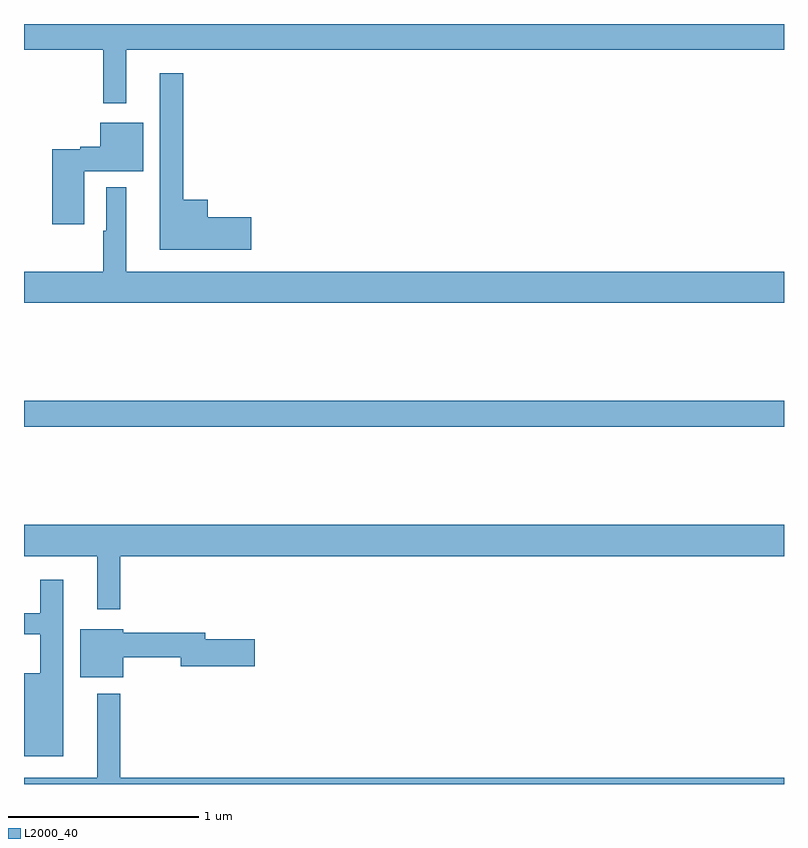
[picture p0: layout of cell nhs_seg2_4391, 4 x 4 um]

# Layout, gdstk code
import gdstk
lib = gdstk.Library(unit=1e-6, precision=1e-09)
def R(c, l, rs):  # rectangles x0, y0, x1, y1
    for r in rs: c.add(gdstk.rectangle(r[:2], r[2:], *l))
def P(c, l, *ps):  # polygons
    for p in ps: c.add(gdstk.Polygon(p, *l))
L2000_40 = (2000, 40)

nhs_seg2_4391 = lib.new_cell('nhs_seg2_4391')
R(nhs_seg2_4391, L2000_40, [(349,617.68,353,617.816)])
P(nhs_seg2_4391, L2000_40, [(349.537,619.664),(353,619.664),(353,619.8),(349,619.8),(349,619.664),(349.416,619.664),(349.416,619.383),(349.537,619.383)],
  [(350.197,618.782),(349.966,618.782),(349.966,618.874),(349.837,618.874),(349.837,619.54),(349.715,619.54),(349.715,618.611),(350.197,618.611)],
  [(349.318,619.025),(349.627,619.025),(349.627,619.279),(349.4,619.279),(349.4,619.154),(349.295,619.154),(349.295,619.141),(349.148,619.141),(349.148,618.747),(349.318,618.747)],
  [(353,618.496),(349.537,618.496),(349.537,618.94),(349.433,618.94),(349.433,618.713),(349.416,618.713),(349.416,618.496),(349,618.496),(349,618.332),(353,618.332)],
  [(349.507,617),(353,617),(353,617.164),(349,617.164),(349,617),(349.385,617),(349.385,616.719),(349.507,616.719)],
  [(349.207,616.876),(349.086,616.876),(349.086,616.699),(349,616.699),(349,616.589),(349.086,616.589),(349.086,616.384),(349,616.384),(349,615.947),(349.207,615.947)],
  [(349.522,616.468),(349.826,616.468),(349.826,616.421),(350.215,616.421),(350.215,616.563),(349.954,616.563),(349.954,616.597),(349.522,616.597),(349.522,616.615),(349.295,616.615),(349.295,616.361),(349.522,616.361)],
  [(353,615.832),(349.507,615.832),(349.507,616.276),(349.385,616.276),(349.385,615.832),(349,615.832),(349,615.8),(353,615.8)])

lib.write_gds('nhs_seg2_4391.gds')
